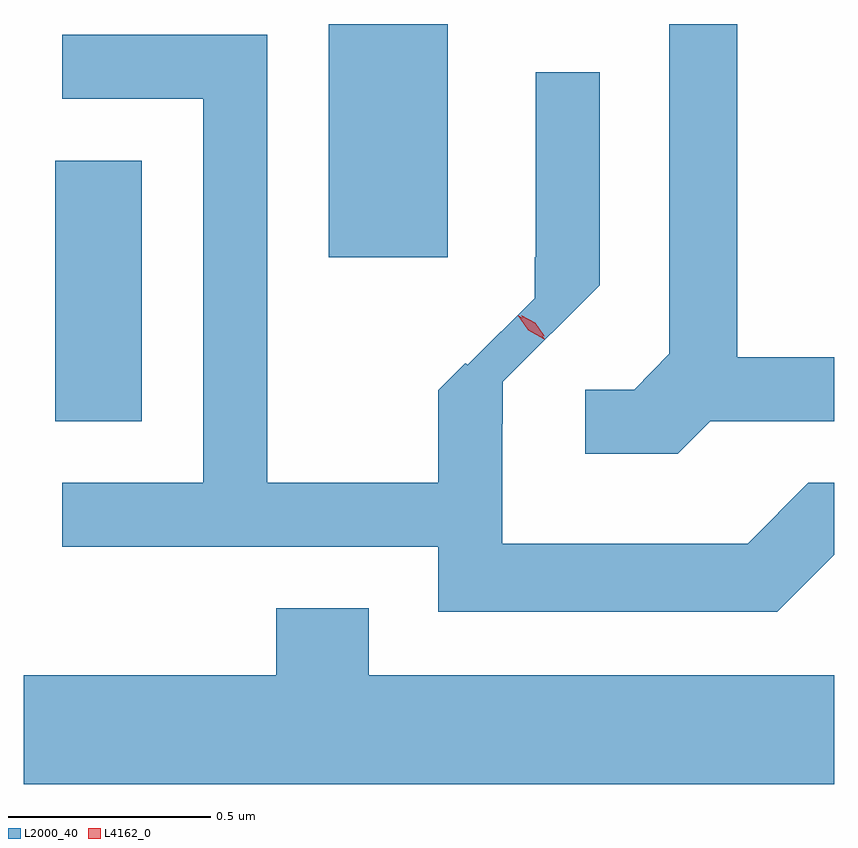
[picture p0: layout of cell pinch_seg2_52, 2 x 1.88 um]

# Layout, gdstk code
import gdstk
lib = gdstk.Library(unit=1e-6, precision=1e-09)
def R(c, l, rs):  # rectangles x0, y0, x1, y1
    for r in rs: c.add(gdstk.rectangle(r[:2], r[2:], *l))
def P(c, l, *ps):  # polygons
    for p in ps: c.add(gdstk.Polygon(p, *l))
L2000_40 = (2000, 40)
L4162_0 = (4162, 0)

pinch_seg2_52 = lib.new_cell('pinch_seg2_52')
R(pinch_seg2_52, L2000_40, [(1125.866,1044.771,1126.079,1045.414), (1126.541,1045.176,1126.834,1045.751)])
P(pinch_seg2_52, L2000_40, [(1127.482,1044.771),(1127.788,1044.771),(1127.788,1044.929),(1127.549,1044.929),(1127.549,1045.751),(1127.381,1045.751),(1127.381,1044.937),(1127.294,1044.849),(1127.173,1044.849),(1127.173,1044.691),(1127.402,1044.691)],
  [(1127.788,1044.442),(1127.788,1044.619),(1127.724,1044.619),(1127.574,1044.469),(1126.969,1044.469),(1126.969,1044.765),(1126.97,1044.765),(1126.97,1044.868),(1127.209,1045.107),(1127.209,1045.632),(1127.051,1045.632),(1127.051,1045.176),(1127.049,1045.176),(1127.049,1045.075),(1126.883,1044.91),(1126.878,1044.914),(1126.811,1044.847),(1126.811,1044.619),(1126.389,1044.619),(1126.389,1045.724),(1125.883,1045.724),(1125.883,1045.566),(1126.231,1045.566),(1126.231,1044.619),(1125.883,1044.619),(1125.883,1044.461),(1126.811,1044.461),(1126.811,1044.301),(1127.647,1044.301)],
  [(1127.788,1044.144),(1126.639,1044.144),(1126.639,1044.309),(1126.411,1044.309),(1126.411,1044.144),(1125.788,1044.144),(1125.788,1043.876),(1127.788,1043.876)])
P(pinch_seg2_52, L4162_0, [(1127.072,1044.973),(1127.033,1044.995),(1127.007,1045.032),(1127.007,1045.032),(1127.007,1045.032),(1127.046,1045.01),(1127.073,1044.973),(1127.073,1044.973)],
  [(1127.072,1044.981),(1127.037,1045),(1127.015,1045.032),(1127.015,1045.033),(1127.016,1045.033),(1127.05,1045.014),(1127.072,1044.982),(1127.072,1044.981)])

lib.write_gds('pinch_seg2_52.gds')
